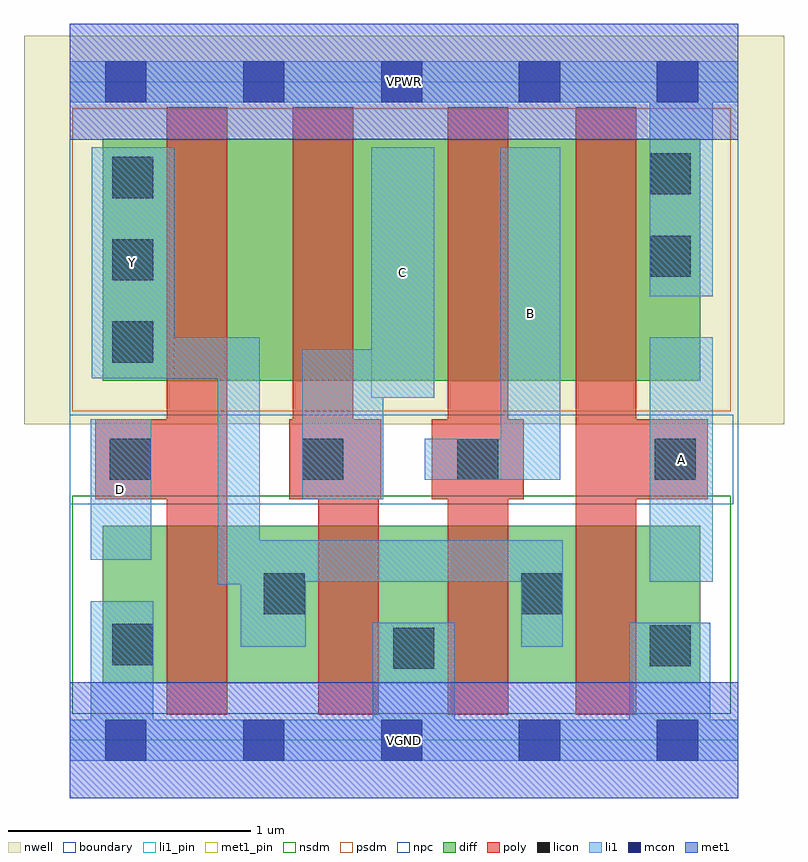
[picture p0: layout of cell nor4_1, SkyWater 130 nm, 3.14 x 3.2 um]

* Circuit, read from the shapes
.subckt nor4_1 A B C D VGND VPWR Y
XM1 Y D VGND VSUBS sky130_fd_pr__nfet_01v8 w=0.65 l=0.25
XM2 VGND C Y VSUBS sky130_fd_pr__nfet_01v8 w=0.65 l=0.25
XM3 Y B VGND VSUBS sky130_fd_pr__nfet_01v8 w=0.65 l=0.25
XM4 VGND A Y VSUBS sky130_fd_pr__nfet_01v8 w=0.65 l=0.25
XM5 n1 D Y n2 sky130_fd_pr__pfet_01v8 w=1 l=0.25
XM6 n3 C n1 n2 sky130_fd_pr__pfet_01v8 w=1 l=0.25
XM7 n4 B n3 n2 sky130_fd_pr__pfet_01v8 w=1 l=0.25
XM8 VPWR A n4 n2 sky130_fd_pr__pfet_01v8 w=1 l=0.25
.ends

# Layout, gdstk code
import gdstk
lib = gdstk.Library(unit=1e-6, precision=1e-09)
def R(c, l, rs):  # rectangles x0, y0, x1, y1
    for r in rs: c.add(gdstk.rectangle(r[:2], r[2:], *l))
def A(c, l, x, y, w, h, nx, ny, dx, dy):  # array of equal rectangles
    R(c, l, [(x+i*dx, y+j*dy, x+i*dx+w, y+j*dy+h) for i in range(nx) for j in range(ny)])
nwell = (64, 20)
diff = (65, 20)
poly = (66, 20)
licon = (66, 44)
li1_pin = (67, 16)
li1 = (67, 20)
mcon = (67, 44)
met1_pin = (68, 16)
met1 = (68, 20)
nsdm = (93, 44)
psdm = (94, 20)
npc = (95, 20)
boundary = (235, 4)

nor4_1 = lib.new_cell('nor4_1')
R(nor4_1, nwell, [(-0.19,1.305,2.95,2.91), (0,1.305,2.76,2.91)])
R(nor4_1, diff, [(0.135,0.235,2.605,0.885), (0.135,1.485,2.605,2.485)])
R(nor4_1, poly, [(0.4,0.105,0.65,2.615), (1.025,0.105,1.275,1.325), (1.56,0.105,1.81,2.615), (2.09,0.105,2.34,2.615), (0.105,0.995,0.65,1.325), (0.905,0.995,1.285,1.325), (0.92,0.995,1.17,2.615), (1.495,0.995,1.875,1.325), (2.09,0.995,2.635,1.325)])
A(nor4_1, licon, 0.175, 1.56, 0.17, 0.17, 1, 3, 0, 0.34)
R(nor4_1, licon, [(1.335,0.295,1.505,0.465), (2.395,0.305,2.565,0.475), (0.175,0.31,0.345,0.48), (0.8,0.52,0.97,0.69), (1.865,0.52,2.035,0.69), (0.165,1.075,0.335,1.245), (0.96,1.075,1.13,1.245), (1.6,1.075,1.77,1.245), (2.415,1.075,2.585,1.245), (2.395,1.915,2.565,2.085), (2.395,2.255,2.565,2.425)])
R(nor4_1, li1_pin, [(2.395,0.655,2.655,1.665), (0.085,0.745,0.335,1.325), (1.78,1.075,2.025,2.45), (1.245,1.415,1.505,2.45), (0.09,1.495,0.43,2.45)])
R(nor4_1, li1, [(0,-0.085,2.76,0.085), (0.085,-0.085,0.345,0.575), (1.25,-0.085,1.59,0.485), (2.31,-0.085,2.645,0.485), (0.705,0.385,0.975,0.825), (1.865,0.385,2.035,0.825), (0.61,0.645,0.785,1.665), (0.61,0.655,2.035,0.825), (2.395,0.655,2.655,1.665), (0.085,0.745,0.335,1.325), (0.96,0.995,1.295,1.615), (1.465,1.075,2.025,1.245), (1.78,1.075,2.025,2.45), (1.245,1.415,1.505,2.45), (0.09,1.495,0.43,2.45), (0.09,1.495,0.785,1.665), (2.395,1.835,2.655,2.805), (0,2.635,2.76,2.805)])
A(nor4_1, mcon, 0.145, -0.085, 0.17, 0.17, 5, 2, 0.57, 2.72)
R(nor4_1, met1_pin, [(0,-0.24,2.76,0.24), (0,2.48,2.76,2.96)])
R(nor4_1, met1, [(0,-0.24,2.76,0.24), (0,2.48,2.76,2.96)])
R(nor4_1, nsdm, [(0.01,0.11,2.73,1.01)])
R(nor4_1, psdm, [(0.01,1.36,2.73,2.61)])
R(nor4_1, npc, [(0,0.975,2.74,1.345)])
R(nor4_1, boundary, [(0,0,2.76,2.72)])
nor4_1.add(gdstk.Label('A', (2.525,1.16), layer=67, texttype=5))
nor4_1.add(gdstk.Label('B', (1.902,1.762), layer=67, texttype=5))
nor4_1.add(gdstk.Label('C', (1.375,1.932), layer=67, texttype=5))
nor4_1.add(gdstk.Label('D', (0.21,1.035), layer=67, texttype=5))
nor4_1.add(gdstk.Label('Y', (0.26,1.972), layer=67, texttype=5))
nor4_1.add(gdstk.Label('VPWR', (1.38,2.72), layer=68, texttype=5))
nor4_1.add(gdstk.Label('VGND', (1.38,0), layer=68, texttype=5))
nor4_1.add(gdstk.Label('A', (2.525,1.16), layer=67, texttype=16))
nor4_1.add(gdstk.Label('B', (1.902,1.762), layer=67, texttype=16))
nor4_1.add(gdstk.Label('C', (1.375,1.932), layer=67, texttype=16))
nor4_1.add(gdstk.Label('D', (0.21,1.035), layer=67, texttype=16))
nor4_1.add(gdstk.Label('Y', (0.26,1.972), layer=67, texttype=16))
nor4_1.add(gdstk.Label('VPWR', (1.38,2.72), layer=68, texttype=16))
nor4_1.add(gdstk.Label('VGND', (1.38,0), layer=68, texttype=16))

lib.write_gds('nor4_1.gds')
